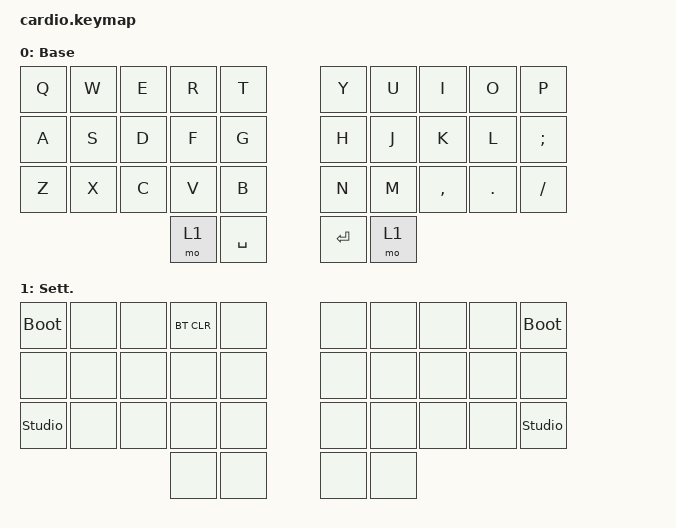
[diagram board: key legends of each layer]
#include <behaviors.dtsi>
#include <dt-bindings/zmk/keys.h>
#include <dt-bindings/zmk/bt.h>
#include <dt-bindings/zmk/studio.h>

/ {
    keymap {
        compatible = "zmk,keymap";

        default_layer {
            display-name = "Base";
            bindings = <
                &kp Q &kp W &kp E &kp R &kp T           &kp Y &kp U  &kp I     &kp O   &kp P 
                &kp A &kp S &kp D &kp F &kp G           &kp H &kp J  &kp K     &kp L   &kp SEMI
                &kp Z &kp X &kp C &kp V &kp B           &kp N &kp M  &kp COMMA &kp DOT &kp FSLH
                                &mo 1 &kp SPACE         &kp ENTER &mo 1
            >;
        };

        settings_layer {
            display-name = "Sett.";
            bindings = <
                &bootloader &none &none &bt BT_CLR &none    &none &none &none &none &bootloader
                &none       &none &none &none      &none    &none &none &none &none &none
                &studio_unlock &none &none &none   &none    &none &none &none &none &studio_unlock
                                      &none &none           &none &none
            >;
        };
    };
};
